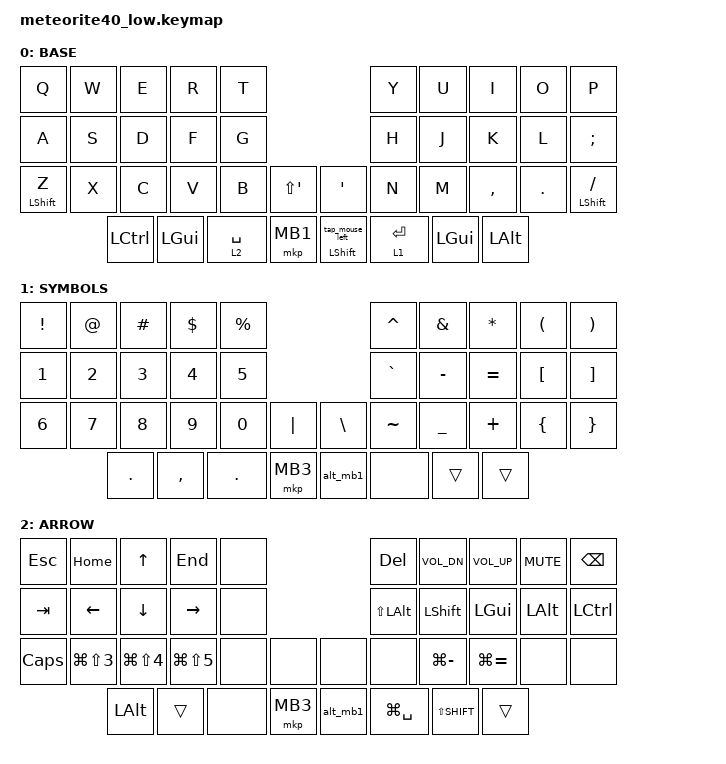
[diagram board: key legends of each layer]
#include <behaviors.dtsi>
#include <dt-bindings/zmk/bt.h>
#include <dt-bindings/zmk/keys.h>
#include <dt-bindings/zmk/pointing.h>

#include <behaviors/custom_config.dtsi>
#include <dt-bindings/zmk/custom_config.h>

&mt { 
    flavor = "tap-preferred";
    tapping-term-ms = <250>;
    quick-tap-ms = <200>;
    require-prior-idle-ms = <150>;
};

&lt {
    flavor = "tap-preferred";
    tapping-term-ms = <250>;
    quick-tap-ms = <200>;
    require-prior-idle-ms = <150>;
};

/ { 
    combos {
        compatible = "zmk,combos";

        esc {
            bindings = <&kp ESCAPE>;
            key-positions = <0 1>;
            layers = <0>;
        };

        tab {
            bindings = <&kp TAB>;
            key-positions = <10 11>;
            layers = <0>;
        };

        enter {
            bindings = <&kp ENTER>;
            key-positions = <18 19>;
            layers = <0>;
        };

        backspace {
            bindings = <&kp BSPC>;
            key-positions = <8 9>;
            layers = <0 3>;
        };

        delete {
            bindings = <&kp DEL>;
			key-positions = <5 6>;
            layers = <0 3>;
        };

		bluetooth_combo_1 {
            bindings = <&bt BT_SEL 0>;
            key-positions = <4 24>;
            layers = <1>;
        };

		bluetooth_combo_2 {
            bindings = <&bt BT_SEL 1>;
            key-positions = <4 24>;
            layers = <2>;
        };

		bootloader_combo {
            bindings = <&bootloader>;
            key-positions = <18 24>;
            layers = <1 2>;
        };

        CCPIDN {
            bindings = <&ccfg C_CPI_DN>;
            key-positions = <32 33>;
            layers = <1>;
        };

        CCPIUP {
            bindings = <&ccfg C_CPI_UP>;
            key-positions = <38 39>;
            layers = <1>;
        };

		CROTDN {
            bindings = <&ccfg C_ROT_DN>;
            key-positions = <32 33>;
            layers = <2>;
        };

        CROTUP {
            bindings = <&ccfg C_ROT_UP>;
            key-positions = <38 39>;
            layers = <2>;
        };
    };

	macros {
        // Alt + Left Click Macro
        alt_mb1: alt_mb1 {
            compatible = "zmk,behavior-macro";
            #binding-cells = <0>;
            bindings
                = <&macro_press &kp LALT>      // Altを押す
                , <&macro_press &mkp MB1>      // 左クリックを押す
                , <&macro_pause_for_release>   // キーを離すまで待機
                , <&macro_release &mkp MB1>    // 左クリックを離す
                , <&macro_release &kp LALT>;   // Altを離す
        };

		// タップ時にマウス右クリックをトリガーするマクロ
        tap_mouse_left: tap_mouse_left {
            compatible = "zmk,behavior-macro";
            #binding-cells = <0>;
            bindings = <&macro_tap &mkp MB2>;
        };
    };

	behaviors {
        // holdでkp、tapでマクロ（マウス）を呼び出すカスタムhold-tap
        hp_mouse: hp_mouse {
            compatible = "zmk,behavior-hold-tap";
            #binding-cells = <2>;
            flavor = "tap-preferred"; // tapを優先する判定
            tapping-term-ms = <200>;
            bindings = <&kp>, <&tap_mouse_left>; 
        };
    };

    keymap {
        compatible = "zmk,keymap";
        layout = &LOW_PROFILE_DEFAULT;

        win_default_layer {
            display-name = "BASE";
            bindings = <
                &kp Q        &kp W       &kp E        &kp R        &kp T                                	&kp Y        &kp U      &kp I       &kp O    &kp P
                &kp A        &kp S       &kp D        &kp F        &kp G                                	&kp H        &kp J      &kp K       &kp L    &kp SEMI 
                &mt LSHIFT Z &kp X       &kp C        &kp V        &kp B        &kp LS(SQT) &kp SQT     	&kp N        &kp M      &kp COMMA   &kp DOT  &mt LSHIFT SLASH
									     &kp LCTRL    &kp LGUI     &lt 2 SPACE  &mkp MB1    &hp_mouse LSHIFT 0    &lt 1 ENTER    &kp LGUI     &kp LALT
            >;
        };

        layer_1 {
            display-name = "SYMBOLS";
            bindings = <
                &kp EXCL    &kp AT      &kp HASH     &kp DLLR      &kp PRCNT                           &kp CARET    &kp AMPS        &kp STAR      &kp LPAR      &kp RPAR
                &kp N1      &kp N2      &kp N3       &kp N4        &kp N5                              &kp GRAVE    &kp MINUS       &kp EQUAL     &kp LBKT      &kp RBKT
                &kp N6      &kp N7      &kp N8       &kp N9        &kp N0       &kp PIPE   &kp BSLH    &kp TILDE    &kp UNDERSCORE  &kp PLUS      &kp LBRC      &kp RBRC
									    &kp DOT      &kp COMMA       &kp DOT    &mkp MB3   &alt_mb1    &none        &trans	     	&trans
            >;
        };

        layer_2 {
            display-name = "ARROW";
            bindings = <
                &kp ESC       &kp HOME       &kp UP         &kp END        &none                        	 &kp DEL         &kp C_VOL_DN    &kp C_VOL_UP   &kp C_MUTE  &kp BSPC
                &kp TAB       &kp LEFT       &kp DOWN       &kp RIGHT      &none                        	 &kp LS(LALT)    &kp LSHIFT      &kp LGUI       &kp LALT    &kp LCTRL
                &kp CAPSLOCK  &kp LG(LS(N3)) &kp LG(LS(N4)) &kp LG(LS(N5)) &none    &none     &none      	 &none           &kp LG(MINUS)   &kp LG(EQUAL)  &none       &none
								     	     &kp LALT 		&trans 		   &none    &mkp MB3  &alt_mb1	     &kp LG(SPACE)   &kp LS(SHIFT)   &trans
            >;
        };
    };
};

// &ccfg C_CPI_DN  &ccfg C_CPI_UP
// &ccfg C_ROT_DN  &ccfg C_ROT_UP
